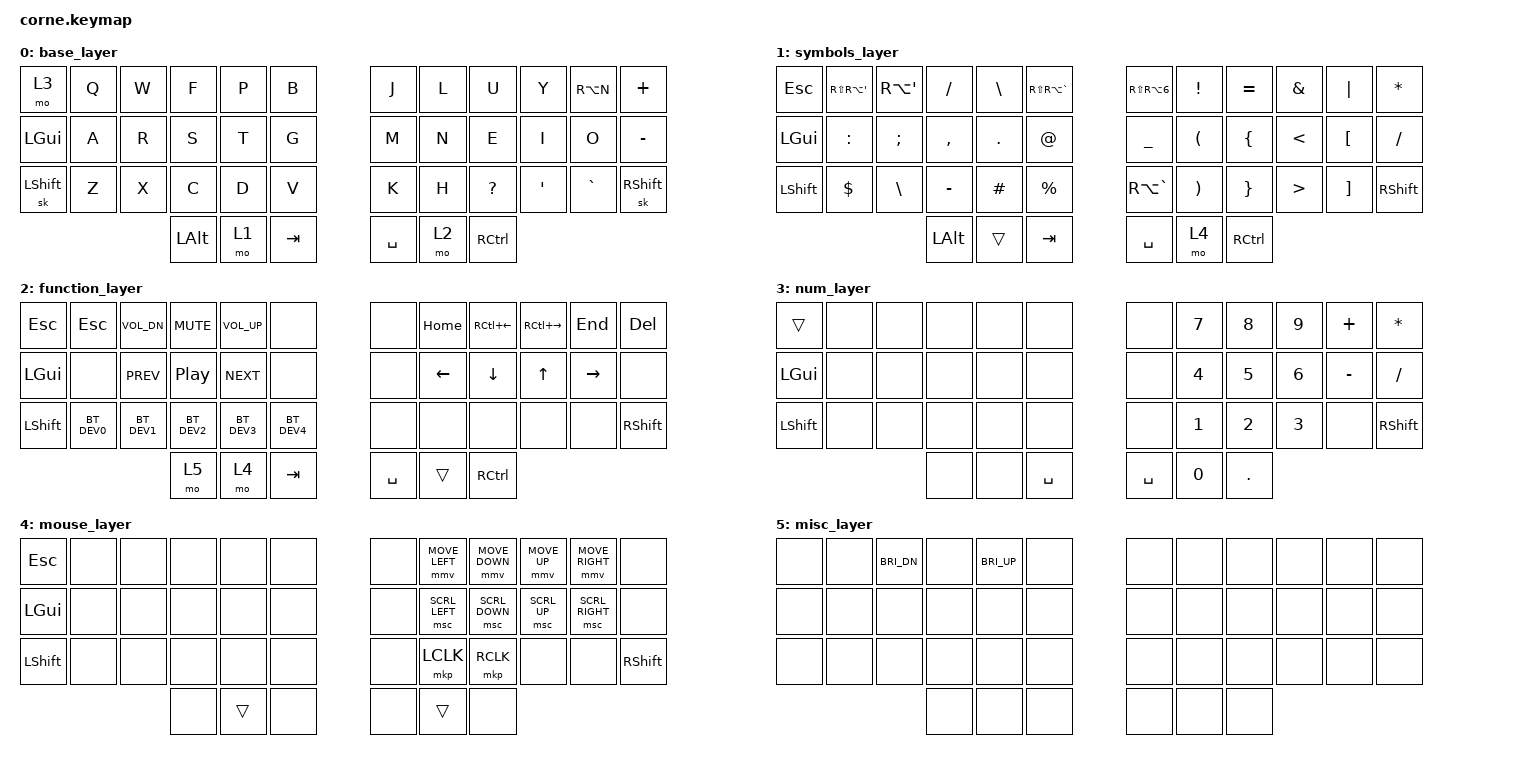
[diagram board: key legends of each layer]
/*
 * Copyright (c) 2020 The ZMK Contributors
 *
 * SPDX-License-Identifier: MIT
 */

#define ZMK_POINTING_DEFAULT_SCRL_VAL 20

#include <behaviors.dtsi>
#include <dt-bindings/zmk/keys.h>
#include <dt-bindings/zmk/bt.h>
#include <dt-bindings/zmk/mouse.h>
#include <dt-bindings/zmk/pointing.h>

# define SYM_LAYER &mo 1
# define FN_LAYER &mo 2
# define NM_LAYER &mo 3
# define MS_LAYER &mo 4
# define MSC_LAYER &mo 5

# define NTLD RA(N)
# define CDQT RS(RA(SQT))
# define CSQT RA(SQT)
# define TLD RS(RA(GRAVE))
# define BTICK RA(GRAVE)
# define CCARET RS(RA(N6))
# define VOLDN C_VOL_DN
# define MUTE C_MUTE
# define VOLUP C_VOL_UP
# define PREV C_PREV
# define PP C_PLAY_PAUSE
# define NEXT C_NEXT
# define DEV0 BT_SEL 0
# define DEV1 BT_SEL 1
# define DEV2 BT_SEL 2
# define DEV3 BT_SEL 3
# define DEV4 BT_SEL 4
# define PWORD RC(LEFT)
# define NWORD RC(RIGHT)
# define MSLEFT &mmv MOVE_LEFT
# define MSRIGHT &mmv MOVE_RIGHT
# define MSUP &mmv MOVE_UP
# define MSDOWN &mmv MOVE_DOWN
# define SCLEFT &msc SCRL_LEFT
# define SCRIGHT &msc SCRL_RIGHT
# define SCDOWN &msc SCRL_DOWN
# define SCUP &msc SCRL_UP
# define CLKLEFT &mkp LCLK
# define CLKRIGHT &mkp RCLK
# define BRIDN C_BRI_DN
# define BRIUP C_BRI_UP

&sk {
    quick-release;
};

/ {
        behaviors {
                macro_m0: macro_m0 {
                        compatible = "zmk,behavior-macro";
                        #binding-cells = <0>;
                        bindings = <&kp RS(HOME) &kp BSPC>;
                };
        };

        combos {
                compatible = "zmk,combos";

                combo_e_i_enter {
                        timeout-ms = <35>;
                        key-positions = <20 21>;
                        bindings = <&kp RET>;
                };

                combo_n_e_shift_enter {
                        timeout-ms = <35>;
                        key-positions = <19 20>;
                        bindings = <&kp RS(RET)>;
                };

                combo_r_s_bspc {
                        timeout-ms = <35>;
                        key-positions = <14 15>;
                        bindings = <&kp BSPC>;
                };

                combo_s_t_ctrl_bspc {
                        timeout-ms = <35>;
                        key-positions = <15 16>;
                        bindings = <&kp RC(BSPC)>;
                };

                combo_u_y_caps {
                        timeout-ms = <35>;
                        key-positions = <8 9>;
                        bindings = <&kp CAPSLOCK>;
                };

                combo_w_f_esc {
                        timeout-ms = <35>;
                        key-positions = <2 3>;
                        bindings = <&kp ESC>;
                };

                combo_x_c_ctrl_c {
                        timeout-ms = <35>;
                        key-positions = <26 27>;
                        bindings = <&kp RC(C)>;
                };

                combo_c_d_ctrl_v {
                        timeout-ms = <35>;
                        key-positions = <27 28>;
                        bindings = <&kp RC(V)>;
                };

                combo_f_h_f1 {
                        timeout-ms = <35>;
                        key-positions = <3 31>;
                        bindings = <&kp F1>;
                };

                combo_f_qmark_f2 {
                        timeout-ms = <35>;
                        key-positions = <3 32>;
                        bindings = <&kp F2>;
                };

                combo_f_quote_f3 {
                        timeout-ms = <35>;
                        key-positions = <3 33>;
                        bindings = <&kp F3>;
                };

                combo_f_n_f4 {
                        timeout-ms = <35>;
                        key-positions = <3 19>;
                        bindings = <&kp F4>;
                };

                combo_f_e_f5 {
                        timeout-ms = <35>;
                        key-positions = <3 20>;
                        bindings = <&kp F5>;
                };

                combo_f_i_f6 {
                        timeout-ms = <35>;
                        key-positions = <3 21>;
                        bindings = <&kp F6>;
                };

                combo_f_l_f7 {
                        timeout-ms = <35>;
                        key-positions = <3 7>;
                        bindings = <&kp F7>;
                };

                combo_f_y_f8 {
                        timeout-ms = <35>;
                        key-positions = <3 9>;
                        bindings = <&kp F8>;
                };

                combo_f_u_f9 {
                        timeout-ms = <35>;
                        key-positions = <3 8>;
                        bindings = <&kp F9>;
                };

                combo_f_slash_f10 {
                        timeout-ms = <35>;
                        key-positions = <3 18>;
                        bindings = <&kp F10>;
                };

                combo_f_o_f11 {
                        timeout-ms = <35>;
                        key-positions = <3 22>;
                        bindings = <&kp F11>;
                };

                combo_f_ralt_n_f12 {
                        timeout-ms = <35>;
                        key-positions = <3 10>;
                        bindings = <&kp F12>;
                };

                combo_a_g_f12 {
                        timeout-ms = <35>;
                        key-positions = <13 17>;
                        bindings = <&kp F12>;
                };

                combo_r_s_t_macro {
                        timeout-ms = <35>;
                        key-positions = <14 15 16>;
                        bindings = <&macro_m0>;
                };
        };

        keymap {
                compatible = "zmk,keymap";

                base_layer {
                        bindings = <
                //╭───────────┬───────────┬───────────┬───────────┬───────────┬───────────╮   ╭───────────┬───────────┬───────────┬───────────┬───────────┬───────────╮
                   NM_LAYER    &kp Q       &kp W       &kp F       &kp P       &kp B           &kp J       &kp L       &kp U       &kp Y       &kp NTLD    &kp PLUS   
                //├───────────┼───────────┼───────────┼───────────┼───────────┼───────────┤   ├───────────┼───────────┼───────────┼───────────┼───────────┼───────────┤
                   &kp LGUI    &kp A       &kp R       &kp S       &kp T       &kp G           &kp M       &kp N       &kp E       &kp I       &kp O       &kp MINUS
                //├───────────┼───────────┼───────────┼───────────┼───────────┼───────────┤   ├───────────┼───────────┼───────────┼───────────┼───────────┼───────────┤
                   &sk LSHFT   &kp Z       &kp X       &kp C       &kp D       &kp V           &kp K       &kp H       &kp QMARK   &kp SQT     &kp GRAVE   &sk RSHFT
                //╰───────────┴───────────┴───────────┼───────────┼───────────┼───────────┤   ├───────────┼───────────┼───────────┼───────────┴───────────┴───────────╯
                                                       &kp LALT    SYM_LAYER   &kp TAB         &kp SPACE   FN_LAYER    &kp RCTRL
                //                                    ╰───────────┴───────────┴───────────╯   ╰───────────┴───────────┴───────────╯
                        >;
                };

                symbols_layer {
                        bindings = <
                //╭───────────┬───────────┬───────────┬───────────┬───────────┬───────────╮   ╭───────────┬───────────┬───────────┬───────────┬───────────┬───────────╮
                //│  ESC      │  "        │  '        │  /        │  \        │  ~        │   │  ^        │  !        │  =        │  &        │   |       │ *         │
                   &kp ESC     &kp CDQT    &kp CSQT    &kp FSLH    &kp BSLH    &kp TLD         &kp CCARET  &kp EXCL    &kp EQUAL   &kp AMPS    &kp PIPE    &kp ASTRK 
                //├───────────┼───────────┼───────────┼───────────┼───────────┼───────────┤   ├───────────┼───────────┼───────────┼───────────┼───────────┼───────────┤
                //│  SUPER    │  :        │  ;        │  ,        │  .        │  @        │   │  _        │  (        │  {        │  <        │  [        │  /        │
                   &kp LGUI    &kp COLON   &kp SEMI    &kp COMMA   &kp DOT     &kp AT          &kp UNDER   &kp LPAR    &kp LBRC    &kp LT      &kp LBKT    &kp FSLH
                //├───────────┼───────────┼───────────┼───────────┼───────────┼───────────┤   ├───────────┼───────────┼───────────┼───────────┼───────────┼───────────┤
                //│  LSHIFT   │  $        │  \        │  -        │  #        │  %        │   │  `        │  )        │  }        │  >        │  ]        │  RSHIFT   │
                   &kp LSHFT   &kp DLLR    &kp BSLH    &kp MINUS   &kp HASH    &kp PRCNT       &kp BTICK   &kp RPAR    &kp RBRC    &kp GT      &kp RBKT    &kp RSHFT
                //╰───────────┴───────────┴───────────┼───────────┼───────────┼───────────┤   ├───────────┼───────────┼───────────┼───────────┴───────────┴───────────╯
                //                                    │  LALT     │  TRANS    │  TAB      │   │  SPACE    │  MS_LAYER │  RCTRL    │        
                                                       &kp LALT    &trans      &kp TAB         &kp SPACE   MS_LAYER    &kp RCTRL
                //                                    ╰───────────┴───────────┴───────────╯   ╰───────────┴───────────┴───────────╯
                        >;
                };

                function_layer {
                        bindings = <
                //╭───────────┬───────────┬───────────┬───────────┬───────────┬───────────╮   ╭───────────┬───────────┬───────────┬───────────┬───────────┬───────────╮
                   &kp ESC     &kp ESC     &kp VOLDN   &kp MUTE    &kp VOLUP   &none           &none       &kp HOME    &kp PWORD   &kp NWORD   &kp END     &kp DEL
                //├───────────┼───────────┼───────────┼───────────┼───────────┼───────────┤   ├───────────┼───────────┼───────────┼───────────┼───────────┼───────────┤
                   &kp LGUI    &none       &kp PREV    &kp PP      &kp NEXT    &none           &none       &kp LEFT    &kp DOWN    &kp UP      &kp RIGHT   &none
                //├───────────┼───────────┼───────────┼───────────┼───────────┼───────────┤   ├───────────┼───────────┼───────────┼───────────┼───────────┼───────────┤
                   &kp LSHFT   &bt DEV0    &bt DEV1    &bt DEV2    &bt DEV3    &bt DEV4        &none       &none       &none       &none       &none       &kp RSHFT
                //╰───────────┴───────────┴───────────┼───────────┼───────────┼───────────┤   ├───────────┼───────────┼───────────┼───────────┴───────────┴───────────╯
                                                       MSC_LAYER   MS_LAYER    &kp TAB         &kp SPACE   &trans      &kp RCTRL
                //                                    ╰───────────┴───────────┴───────────╯   ╰───────────┴───────────┴───────────╯
                        >;
                };

                num_layer {
                        bindings = <
                //╭───────────┬───────────┬───────────┬───────────┬───────────┬───────────╮   ╭───────────┬───────────┬───────────┬───────────┬───────────┬───────────╮
                   &trans      &none       &none       &none       &none       &none           &none       &kp N7      &kp N8      &kp N9      &kp PLUS    &kp ASTRK  
                //├───────────┼───────────┼───────────┼───────────┼───────────┼───────────┤   ├───────────┼───────────┼───────────┼───────────┼───────────┼───────────┤
                   &kp LGUI    &none       &none       &none       &none       &none           &none       &kp N4      &kp N5      &kp N6      &kp MINUS   &kp FSLH
                //├───────────┼───────────┼───────────┼───────────┼───────────┼───────────┤   ├───────────┼───────────┼───────────┼───────────┼───────────┼───────────┤
                   &kp LSHFT   &none       &none       &none       &none       &none           &none       &kp N1      &kp N2      &kp N3      &none       &kp RSHFT
                //╰───────────┴───────────┴───────────┼───────────┼───────────┼───────────┤   ├───────────┼───────────┼───────────┼───────────┴───────────┴───────────╯
                                                       &none       &none       &kp SPACE       &kp SPACE   &kp N0      &kp DOT
                //                                    ╰───────────┴───────────┴───────────╯   ╰───────────┴───────────┴───────────╯
                        >;
                };

                mouse_layer {
                        bindings = <
                //╭───────────┬───────────┬───────────┬───────────┬───────────┬───────────╮   ╭───────────┬───────────┬───────────┬───────────┬───────────┬───────────╮
                   &kp ESC     &none       &none       &none       &none       &none           &none       MSLEFT      MSDOWN      MSUP        MSRIGHT     &none
                //├───────────┼───────────┼───────────┼───────────┼───────────┼───────────┤   ├───────────┼───────────┼───────────┼───────────┼───────────┼───────────┤
                   &kp LGUI    &none       &none       &none       &none       &none           &none       SCLEFT      SCDOWN      SCUP        SCRIGHT     &none
                //├───────────┼───────────┼───────────┼───────────┼───────────┼───────────┤   ├───────────┼───────────┼───────────┼───────────┼───────────┼───────────┤
                   &kp LSHFT   &none       &none       &none       &none       &none           &none       CLKLEFT     CLKRIGHT    &none       &none       &kp RSHFT
                //╰───────────┴───────────┴───────────┼───────────┼───────────┼───────────┤   ├───────────┼───────────┼───────────┼───────────┴───────────┴───────────╯
                                                       &none       &trans      &none           &none       &trans      &none
                //                                    ╰───────────┴───────────┴───────────╯   ╰───────────┴───────────┴───────────╯
                        >;
                };

                misc_layer {
                        bindings = <
                //╭───────────┬───────────┬───────────┬───────────┬───────────┬───────────╮   ╭───────────┬───────────┬───────────┬───────────┬───────────┬───────────╮
                   &none       &none       &kp BRIDN   &none       &kp BRIUP   &none           &none       &none       &none       &none       &none       &none
                //├───────────┼───────────┼───────────┼───────────┼───────────┼───────────┤   ├───────────┼───────────┼───────────┼───────────┼───────────┼───────────┤
                   &none       &none       &none       &none       &none       &none           &none       &none       &none       &none       &none       &none
                //├───────────┼───────────┼───────────┼───────────┼───────────┼───────────┤   ├───────────┼───────────┼───────────┼───────────┼───────────┼───────────┤
                   &none       &none       &none       &none       &none       &none           &none       &none       &none       &none       &none       &none
                //╰───────────┴───────────┴───────────┼───────────┼───────────┼───────────┤   ├───────────┼───────────┼───────────┼───────────┴───────────┴───────────╯
                                                       &none       &none       &none           &none       &none       &none
                //                                    ╰───────────┴───────────┴───────────╯   ╰───────────┴───────────┴───────────╯
                        >;
                };
        };
};
